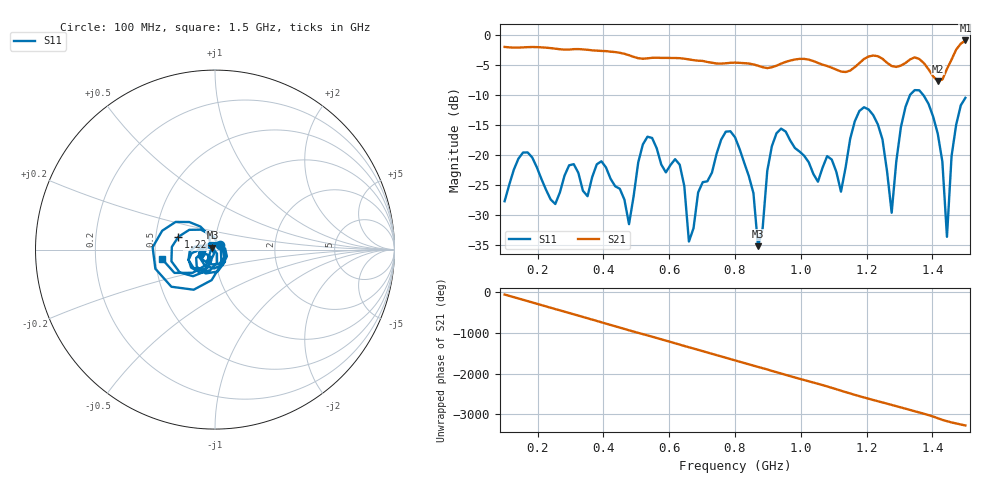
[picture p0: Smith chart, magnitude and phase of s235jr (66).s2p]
! NanoVNA-App
! Date: 2025-09-26 09:45:18
! Start: 100MHz Stop: 1,5GHz Points: 101
! S-Parameter data: F S11 S21 S12 S22
# Hz S RI R 50
!  Frequency  S11_Real  S11_Imag  S21_Real  S21_Imag  S12_Real  S12_Imag  S22_Real  S22_Imag
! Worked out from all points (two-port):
!   101 points, 100 MHz to 1.5 GHz, reference 50 ohm
!   highest |S21| = -0.88 dB at 1.5 GHz (marker M1); lowest = -7.6 dB at 1.416 GHz (marker M2)
!   |S21| within 3 dB of the highest: start of sweep to 513.3 MHz; 529 MHz to 640.3 MHz (111.2 MHz wide, 19 % of centre)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
!   lowest |S11| = -35.1 dB at 870 MHz (marker M3), VSWR 1.04, Z = 48.6 + j0.964 ohm
!   |S11| at or under -10 dB: start of sweep to 1.331 GHz; 1.372 GHz to end of sweep
!   S12 and S22 are empty: the file has one direction only
!   S11 on the Smith chart (normalised r, x): 100 MHz: 1.06, +0.06; 1.22 GHz: 0.66, +0.10; 1.5 GHz: 0.54, -0.06
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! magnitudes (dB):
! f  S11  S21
! 100 MHz  -27.6  -2.0
! 156 MHz  -19.5  -2.0
! 338 MHz  -25.9  -2.4
! 394 MHz  -21.0  -2.6
! 478 MHz  -31.5  -3.3
! 520 MHz  -18.2  -3.9
! 576 MHz  -21.5  -3.8
! 632 MHz  -21.6  -3.8
! 660 MHz  -34.4  -4.0
! 800 MHz  -17.0  -4.6
! 870 MHz  -35.1  -5.1
! 926 MHz  -16.3  -5.1
! 1.038 GHz  -23.1  -4.3
! 1.122 GHz  -26.1  -6.1
! 1.164 GHz  -14.3  -5.3
! 1.22 GHz  -13.3  -3.4
! 1.276 GHz  -29.6  -5.1
! 1.332 GHz  -9.9  -4.0
! 1.416 GHz  -16.4  -7.6
! 1.444 GHz  -33.6  -5.6
! 1.458 GHz  -20.1  -4.1
! 1.5 GHz  -10.4  -0.9
